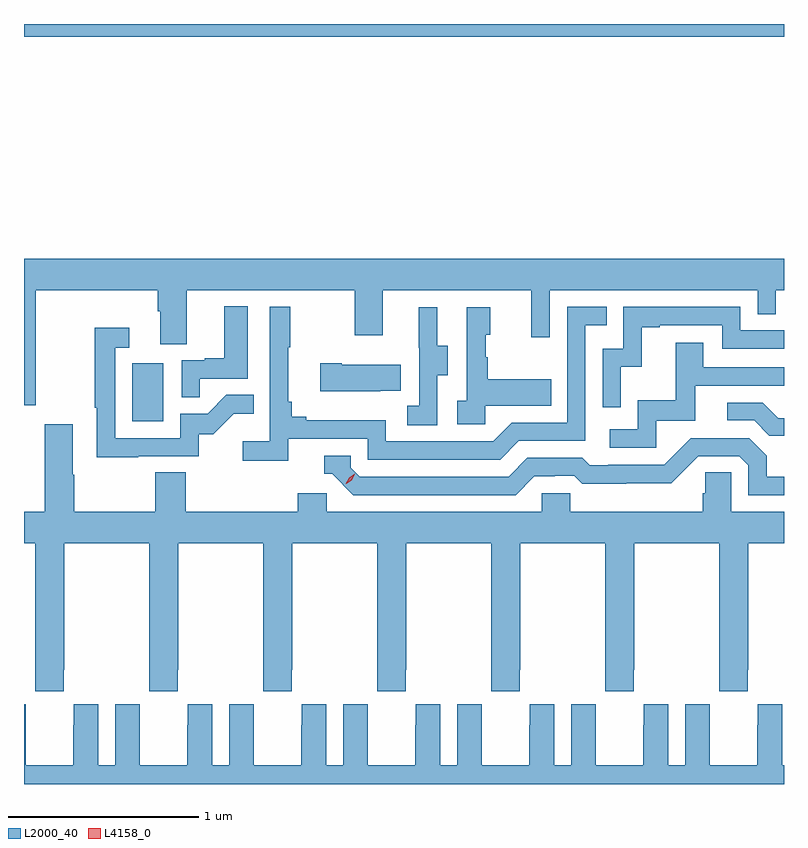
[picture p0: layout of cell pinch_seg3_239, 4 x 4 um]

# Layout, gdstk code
import gdstk
lib = gdstk.Library(unit=1e-6, precision=1e-09)
def R(c, l, rs):  # rectangles x0, y0, x1, y1
    for r in rs: c.add(gdstk.rectangle(r[:2], r[2:], *l))
def P(c, l, *ps):  # polygons
    for p in ps: c.add(gdstk.Polygon(p, *l))
L2000_40 = (2000, 40)
L4158_0 = (4158, 0)

pinch_seg3_239 = lib.new_cell('pinch_seg3_239')
R(pinch_seg3_239, L2000_40, [(899.918,730.86,900.082,731.167), (899.349,732.884,903.349,732.952)])
P(pinch_seg3_239, L2000_40, [(899.349,730.946),(899.41,730.946),(899.41,731.552),(900.053,731.552),(900.053,731.44),(900.065,731.44),(900.065,731.266),(900.205,731.266),(900.205,731.552),(901.09,731.552),(901.09,731.313),(901.237,731.313),(901.237,731.552),(902.018,731.552),(902.018,731.304),(902.115,731.304),(902.115,731.552),(903.21,731.552),(903.21,731.425),(903.306,731.425),(903.306,731.552),(903.349,731.552),(903.349,731.716),(899.349,731.716)],
  [(900.275,731.085),(900.526,731.085),(900.526,731.467),(900.404,731.467),(900.404,731.194),(900.301,731.194),(900.301,731.181),(900.18,731.181),(900.18,730.987),(900.275,730.987)],
  [(900.74,730.77),(901.158,730.77),(901.158,730.659),(901.855,730.659),(901.954,730.758),(902.304,730.758),(902.304,731.367),(902.417,731.367),(902.417,731.463),(902.208,731.463),(902.208,730.854),(901.917,730.854),(901.818,730.755),(901.254,730.755),(901.254,730.867),(900.835,730.867),(900.835,730.886),(900.758,730.886),(900.758,730.963),(900.739,730.963),(900.739,731.251),(900.751,731.251),(900.751,731.464),(900.642,731.464),(900.642,730.756),(900.501,730.756),(900.501,730.654),(900.74,730.654)],
  [(902.49,731.147),(902.6,731.147),(902.6,731.355),(902.695,731.355),(902.695,731.367),(903.024,731.367),(903.024,731.244),(903.349,731.244),(903.349,731.34),(903.12,731.34),(903.12,731.463),(902.502,731.463),(902.502,731.244),(902.394,731.244),(902.394,730.935),(902.49,730.935)],
  [(901.524,731.104),(901.579,731.104),(901.579,731.259),(901.525,731.259),(901.525,731.461),(901.427,731.461),(901.427,731.247),(901.428,731.247),(901.428,730.943),(901.365,730.943),(901.365,730.84),(901.524,730.84)],
  [(901.776,730.943),(902.123,730.943),(902.123,731.083),(901.789,731.083),(901.789,731.198),(901.779,731.198),(901.779,731.316),(901.804,731.316),(901.804,731.461),(901.68,731.461),(901.68,730.97),(901.629,730.97),(901.629,730.845),(901.776,730.845)],
  [(899.951,730.677),(900.27,730.677),(900.27,730.794),(900.346,730.794),(900.453,730.901),(900.557,730.901),(900.557,731),(900.414,731),(900.316,730.902),(900.171,730.902),(900.171,730.773),(899.829,730.773),(899.829,731.247),(899.902,731.247),(899.902,731.353),(899.721,731.353),(899.721,730.933),(899.733,730.933),(899.733,730.672),(899.951,730.672)],
  [(902.676,730.863),(902.881,730.863),(902.881,731.049),(903.349,731.049),(903.349,731.145),(902.923,731.145),(902.923,731.275),(902.779,731.275),(902.779,730.972),(902.58,730.972),(902.58,730.818),(902.433,730.818),(902.433,730.722),(902.676,730.722)],
  [(901.223,731.021),(901.331,731.021),(901.331,731.158),(901.021,731.158),(901.021,731.166),(900.909,731.166),(900.909,731.018),(901.223,731.018)],
  [(903.349,730.878),(903.319,730.878),(903.238,730.959),(903.051,730.959),(903.051,730.866),(903.192,730.866),(903.272,730.786),(903.349,730.786)],
  [(899.349,730.22),(899.407,730.22),(899.407,729.553),(899.409,729.553),(899.409,729.441),(899.559,729.441),(899.559,729.553),(899.562,729.553),(899.562,730.22),(900.007,730.22),(900.007,729.553),(900.009,729.553),(900.009,729.441),(900.159,729.441),(900.159,729.553),(900.162,729.553),(900.162,730.22),(900.607,730.22),(900.607,729.553),(900.609,729.553),(900.609,729.441),(900.759,729.441),(900.759,729.553),(900.762,729.553),(900.762,730.22),(901.207,730.22),(901.207,729.553),(901.209,729.553),(901.209,729.441),(901.359,729.441),(901.359,729.553),(901.362,729.553),(901.362,730.22),(901.807,730.22),(901.807,729.553),(901.809,729.553),(901.809,729.441),(901.959,729.441),(901.959,729.553),(901.962,729.553),(901.962,730.22),(902.407,730.22),(902.407,729.553),(902.409,729.553),(902.409,729.441),(902.559,729.441),(902.559,729.553),(902.562,729.553),(902.562,730.22),(903.007,730.22),(903.007,729.553),(903.009,729.553),(903.009,729.441),(903.159,729.441),(903.159,729.553),(903.162,729.553),(903.162,730.22),(903.349,730.22),(903.349,730.384),(903.072,730.384),(903.072,730.592),(902.935,730.592),(902.935,730.482),(902.921,730.482),(902.921,730.384),(902.223,730.384),(902.223,730.482),(902.073,730.482),(902.073,730.384),(900.942,730.384),(900.942,730.482),(900.791,730.482),(900.791,730.384),(900.2,730.384),(900.2,730.592),(900.04,730.592),(900.04,730.384),(899.613,730.384),(899.613,730.58),(899.605,730.58),(899.605,730.846),(899.458,730.846),(899.458,730.384),(899.349,730.384)],
  [(902.035,730.572),(902.142,730.572),(902.142,730.575),(902.245,730.575),(902.287,730.533),(902.52,730.533),(902.52,730.535),(902.756,730.535),(902.898,730.677),(903.114,730.677),(903.162,730.629),(903.162,730.473),(903.349,730.473),(903.349,730.569),(903.259,730.569),(903.259,730.679),(903.165,730.773),(902.859,730.773),(902.718,730.632),(902.425,730.632),(902.425,730.629),(902.326,730.629),(902.287,730.668),(901.998,730.668),(901.899,730.569),(901.116,730.569),(901.068,730.617),(901.068,730.68),(900.929,730.68),(900.929,730.584),(900.972,730.584),(901.083,730.473),(901.936,730.473)],
  [(902.358,729.26),(902.358,729.373),(902.228,729.373),(902.228,729.052),(902.14,729.052),(902.14,729.373),(902.01,729.373),(902.01,729.26),(902.009,729.26),(902.009,729.052),(901.759,729.052),(901.759,729.26),(901.758,729.26),(901.758,729.373),(901.628,729.373),(901.628,729.052),(901.54,729.052),(901.54,729.373),(901.41,729.373),(901.41,729.26),(901.409,729.26),(901.409,729.052),(901.159,729.052),(901.159,729.26),(901.158,729.26),(901.158,729.373),(901.028,729.373),(901.028,729.052),(900.94,729.052),(900.94,729.373),(900.81,729.373),(900.81,729.26),(900.809,729.26),(900.809,729.052),(900.559,729.052),(900.559,729.26),(900.558,729.26),(900.558,729.373),(900.428,729.373),(900.428,729.052),(900.34,729.052),(900.34,729.373),(900.21,729.373),(900.21,729.26),(900.209,729.26),(900.209,729.052),(899.959,729.052),(899.959,729.26),(899.958,729.26),(899.958,729.373),(899.828,729.373),(899.828,729.052),(899.74,729.052),(899.74,729.373),(899.61,729.373),(899.61,729.26),(899.609,729.26),(899.609,729.052),(899.359,729.052),(899.359,729.26),(899.358,729.26),(899.358,729.373),(899.349,729.373),(899.349,728.952),(903.349,728.952),(903.349,729.052),(903.34,729.052),(903.34,729.373),(903.21,729.373),(903.21,729.26),(903.209,729.26),(903.209,729.052),(902.959,729.052),(902.959,729.26),(902.958,729.26),(902.958,729.373),(902.828,729.373),(902.828,729.052),(902.74,729.052),(902.74,729.373),(902.61,729.373),(902.61,729.26),(902.609,729.26),(902.609,729.052),(902.359,729.052),(902.359,729.26)])
P(pinch_seg3_239, L4158_0, [(901.043,730.532),(901.043,730.532),(901.06,730.565),(901.09,730.584),(901.091,730.584),(901.091,730.584),(901.074,730.552),(901.044,730.532)])

lib.write_gds('pinch_seg3_239.gds')
